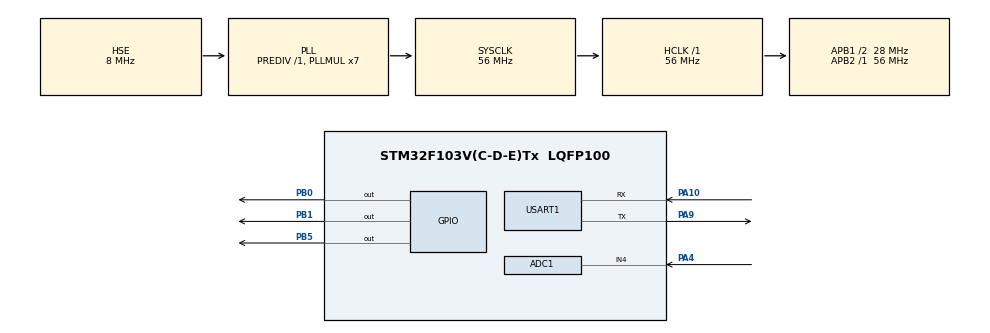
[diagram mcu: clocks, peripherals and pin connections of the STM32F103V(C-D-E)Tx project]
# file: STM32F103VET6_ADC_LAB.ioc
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ADC1.Channel-0\#ChannelRegularConversion=ADC_CHANNEL_4
ADC1.ContinuousConvMode=ENABLE
ADC1.NbrOfConversionFlag=1
ADC1.Rank-0\#ChannelRegularConversion=1
ADC1.SamplingTime-0\#ChannelRegularConversion=ADC_SAMPLETIME_71CYCLES_5
ADC1.master=1
Mcu.Family=STM32F1
Mcu.Name=STM32F103V(C-D-E)Tx
Mcu.Package=LQFP100
NVIC.PriorityGroup=NVIC_PRIORITYGROUP_4
OSC_IN.Mode=HSE-External-Oscillator
OSC_IN.Signal=RCC_OSC_IN
OSC_OUT.Mode=HSE-External-Oscillator
OSC_OUT.Signal=RCC_OSC_OUT
PA10.Mode=Asynchronous
PA10.Signal=USART1_RX
PA13.Mode=Serial_Wire
PA13.Signal=SYS_JTMS-SWDIO
PA14.Mode=Serial_Wire
PA14.Signal=SYS_JTCK-SWCLK
PA4.Signal=ADCx_IN4
PA9.Mode=Asynchronous
PA9.Signal=USART1_TX
PB0.GPIO_Speed=GPIO_SPEED_FREQ_HIGH
PB0.PinState=GPIO_PIN_SET
PB0.Signal=GPIO_Output
PB1.Signal=GPIO_Output
PB5.Signal=GPIO_Output
PC14-OSC32_IN.Mode=LSE-External-Oscillator
PC14-OSC32_IN.Signal=RCC_OSC32_IN
PC15-OSC32_OUT.Mode=LSE-External-Oscillator
PC15-OSC32_OUT.Signal=RCC_OSC32_OUT
ProjectManager.HeapSize=0x200
ProjectManager.StackSize=0x400
ProjectManager.TargetToolchain=MDK-ARM V5.27
RCC.ADCPresc=RCC_ADCPCLK2_DIV4
RCC.AHBFreq_Value=56000000
RCC.APB1CLKDivider=RCC_HCLK_DIV2
RCC.APB1Freq_Value=28000000
RCC.APB1TimFreq_Value=56000000
RCC.APB2Freq_Value=56000000
RCC.APB2TimFreq_Value=56000000
RCC.HCLKFreq_Value=56000000
RCC.PLLMUL=RCC_PLL_MUL7
RCC.PLLSourceVirtual=RCC_PLLSOURCE_HSE
RCC.SYSCLKFreq_VALUE=56000000
RCC.SYSCLKSource=RCC_SYSCLKSOURCE_PLLCLK
RCC.USBFreq_Value=56000000
SH.ADCx_IN4.0=ADC1_IN4,IN4
USART1.VirtualMode=VM_ASYNC
board=custom

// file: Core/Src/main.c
/* USER CODE BEGIN Header */
/**
  ******************************************************************************
  * @file           : main.c
  * @brief          : Main program body
  ******************************************************************************
  * @attention
  *
  * <h2><center>&copy; Copyright (c) 2024 STMicroelectronics.
  * All rights reserved.</center></h2>
  *
  * This software component is licensed by ST under BSD 3-Clause license,
  * the "License"; You may not use this file except in compliance with the
  * License. You may obtain a copy of the License at:
  *                        opensource.org/licenses/BSD-3-Clause
  *
  ******************************************************************************
  */
/* USER CODE END Header */
#include "main.h"
#include "adc.h"
#include "usart.h"
#include "gpio.h"

/* USER CODE BEGIN Includes */
#include <stdio.h>
/* USER CODE END Includes */

/* USER CODE BEGIN PD */
/*
  HAL_OK       = 0x00U,
  HAL_ERROR    = 0x01U,
  HAL_BUSY     = 0x02U,
  HAL_TIMEOUT  = 0x03U
} HAL_StatusTypeDef; */
HAL_StatusTypeDef Status;
/* USER CODE END PD */

void SystemClock_Config(void);

int main(void)
{
  /* USER CODE BEGIN 1 */
	char text[50] = "Hello World\n";
	uint32_t data = 0;

  /* USER CODE END 1 */

  /* MCU Configuration--------------------------------------------------------*/

  /* Reset of all peripherals, Initializes the Flash interface and the Systick. */
  HAL_Init();

  /* Configure the system clock */
  SystemClock_Config();

  /* Initialize all configured peripherals */
  MX_GPIO_Init();
  MX_ADC1_Init();
  MX_USART1_UART_Init();
  /* USER CODE BEGIN 2 */
	/* Calibratoin for ADC */
	HAL_ADCEx_Calibration_Start(&hadc1);
	/* Enable the ADC */
	HAL_ADC_Start(&hadc1);
  /* USER CODE END 2 */

  /* Infinite loop */
  while (1)
  {

    /* USER CODE BEGIN 3 */
		/* HAL_GPIO_WritePin(GPIOB,GPIO_PIN_0,GPIO_PIN_RESET);
		HAL_GPIO_WritePin(GPIOB,GPIO_PIN_5,GPIO_PIN_RESET); // off
		HAL_GPIO_WritePin(GPIOB,GPIO_PIN_1,GPIO_PIN_RESET); */

		/* Single & Continuous Conversion Code */

		if(HAL_ADC_PollForConversion(&hadc1,1000)==HAL_OK){
			data = HAL_ADC_GetValue(&hadc1);
		}

		/* Data into char */
		sprintf(text,"Value: %d(dec) %x(hex)",data,data);

		/* Blink LED and Uutput Character  */
		if(data > 0 && data <= 2350){
			HAL_GPIO_WritePin(GPIOB,GPIO_PIN_0,GPIO_PIN_RESET);
			HAL_GPIO_WritePin(GPIOB,GPIO_PIN_5,GPIO_PIN_RESET); // white
			HAL_GPIO_WritePin(GPIOB,GPIO_PIN_1,GPIO_PIN_RESET);
		}
		else if (data <= 2400){
			HAL_GPIO_WritePin(GPIOB,GPIO_PIN_0,GPIO_PIN_SET);
			HAL_GPIO_WritePin(GPIOB,GPIO_PIN_5,GPIO_PIN_RESET); // red
			HAL_GPIO_WritePin(GPIOB,GPIO_PIN_1,GPIO_PIN_SET);
		}
		else if (data <= 2450){
			HAL_GPIO_WritePin(GPIOB,GPIO_PIN_0,GPIO_PIN_RESET);
			HAL_GPIO_WritePin(GPIOB,GPIO_PIN_5,GPIO_PIN_SET); // green
			HAL_GPIO_WritePin(GPIOB,GPIO_PIN_1,GPIO_PIN_SET);
		}
		else if (data <= 2500){
			HAL_GPIO_WritePin(GPIOB,GPIO_PIN_0,GPIO_PIN_SET);
			HAL_GPIO_WritePin(GPIOB,GPIO_PIN_5,GPIO_PIN_SET); // blue
			HAL_GPIO_WritePin(GPIOB,GPIO_PIN_1,GPIO_PIN_RESET);
		}
		else if (data > 2500){
			HAL_GPIO_WritePin(GPIOB,GPIO_PIN_0,GPIO_PIN_SET);
			HAL_GPIO_WritePin(GPIOB,GPIO_PIN_5,GPIO_PIN_SET); // off
			HAL_GPIO_WritePin(GPIOB,GPIO_PIN_1,GPIO_PIN_SET);}

		//HAL_GPIO_TogglePin(GPIOB,GPIO_PIN_0);
		HAL_UART_Transmit(&huart1,(uint8_t*)text,sizeof(text),5000);
		HAL_Delay(500);
  }
  /* USER CODE END 3 */
}

void SystemClock_Config(void)
{
  RCC_OscInitTypeDef RCC_OscInitStruct = {0};
  RCC_ClkInitTypeDef RCC_ClkInitStruct = {0};
  RCC_PeriphCLKInitTypeDef PeriphClkInit = {0};

  /** Initializes the RCC Oscillators according to the specified parameters
  * in the RCC_OscInitTypeDef structure.
  */
  RCC_OscInitStruct.OscillatorType = RCC_OSCILLATORTYPE_HSE;
  RCC_OscInitStruct.HSEState = RCC_HSE_ON;
  RCC_OscInitStruct.HSEPredivValue = RCC_HSE_PREDIV_DIV1;
  RCC_OscInitStruct.HSIState = RCC_HSI_ON;
  RCC_OscInitStruct.PLL.PLLState = RCC_PLL_ON;
  RCC_OscInitStruct.PLL.PLLSource = RCC_PLLSOURCE_HSE;
  RCC_OscInitStruct.PLL.PLLMUL = RCC_PLL_MUL7;
  if (HAL_RCC_OscConfig(&RCC_OscInitStruct) != HAL_OK)
  {
    Error_Handler();
  }
  /** Initializes the CPU, AHB and APB buses clocks
  */
  RCC_ClkInitStruct.ClockType = RCC_CLOCKTYPE_HCLK|RCC_CLOCKTYPE_SYSCLK
                              |RCC_CLOCKTYPE_PCLK1|RCC_CLOCKTYPE_PCLK2;
  RCC_ClkInitStruct.SYSCLKSource = RCC_SYSCLKSOURCE_PLLCLK;
  RCC_ClkInitStruct.AHBCLKDivider = RCC_SYSCLK_DIV1;
  RCC_ClkInitStruct.APB1CLKDivider = RCC_HCLK_DIV2;
  RCC_ClkInitStruct.APB2CLKDivider = RCC_HCLK_DIV1;

  if (HAL_RCC_ClockConfig(&RCC_ClkInitStruct, FLASH_LATENCY_2) != HAL_OK)
  {
    Error_Handler();
  }
  PeriphClkInit.PeriphClockSelection = RCC_PERIPHCLK_ADC;
  PeriphClkInit.AdcClockSelection = RCC_ADCPCLK2_DIV4;
  if (HAL_RCCEx_PeriphCLKConfig(&PeriphClkInit) != HAL_OK)
  {
    Error_Handler();
  }
}

void Error_Handler(void)
{
  __disable_irq();
  while (1)
  {
  }
}

/************************ (C) COPYRIGHT STMicroelectronics *****END OF FILE****/
